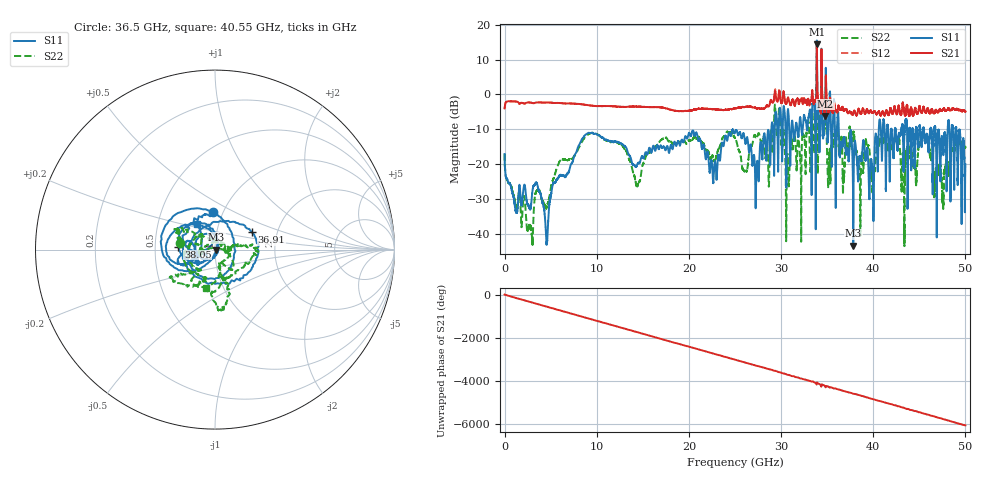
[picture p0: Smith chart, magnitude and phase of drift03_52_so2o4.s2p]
!Created with skrf (http://scikit-rf.org).
# Hz S RI R 50.0
!freq ReS11 ImS11 ReS21 ImS21 ReS12 ImS12 ReS22 ImS22
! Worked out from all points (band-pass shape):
!   10001 points, 300 kHz to 50 GHz, reference 50 ohm
!   highest |S21| = 14.49 dB at 33.88 GHz (marker M1); lowest = -6.2 dB at 34.79 GHz (marker M2)
!   |S21| within 3 dB of the highest: 33.86937 GHz to 33.88837 GHz (19 MHz wide, 0.0561 % of centre); 34.3771 GHz to 34.38905 GHz (11.94 MHz wide, 0.0347 % of centre)
!   lowest |S11| = -43.4 dB at 37.84 GHz (marker M3), VSWR 1.01, Z = 50.7 + j0.0423 ohm
!   |S11| at or under -10 dB: start of sweep to 28.94 GHz; 36.27 GHz to 40.6 GHz (4.339 GHz wide, 11.3 % of centre); 46.74 GHz to 48.08 GHz (1.343 GHz wide, 2.83 % of centre) (the widest 3 of 59)
!   |S22| runs from -43.6 to 11.1 dB; largest |S21 - S12| = 0.81
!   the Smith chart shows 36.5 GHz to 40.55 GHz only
!   S11 on the Smith chart (normalised r, x): 36.5 GHz: 0.90, +0.40; 36.91 GHz: 1.48, +0.31; 38.05 GHz: 0.66, +0.02; 40.55 GHz: 0.79, +0.23
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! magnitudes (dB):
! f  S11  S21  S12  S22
! 300 kHz  -17.1  -4.0  -4.1  -17.1
! 2.825 GHz  -32.6  -2.4  -2.4  -38.1
! 4.555 GHz  -43.2  -2.3  -2.3  -32.3
! 8.335 GHz  -13.1  -2.8  -2.8  -13.9
! 14.44 GHz  -19.9  -3.5  -3.5  -26.2
! 16.67 GHz  -15.4  -3.7  -3.7  -14.3
! 22.82 GHz  -19.3  -4.3  -4.3  -19.1
! 25 GHz  -11.0  -4.0  -4.0  -12.5
! 27.39 GHz  -19.5  -4.1  -4.1  -12.4
! 29.6 GHz  -10.4  -2.0  -2.1  -11.7
! 30.7 GHz  -5.5  -1.4  -1.4  -17.1
! 33.34 GHz  -13.9  -0.5  -0.5  -7.2
! 33.88 GHz  15.5  14.5  14.2  11.0
! 34.79 GHz  -3.1  -6.2  -4.9  -8.6
! 36.5 GHz  -13.5  -4.4  -4.4  -13.9
! 36.91 GHz  -12.9  -4.5  -4.6  -19.8
! 37.84 GHz  -43.4  -5.5  -5.5  -11.2
! 38.05 GHz  -13.7  -5.3  -5.2  -17.1
! 40.55 GHz  -15.2  -5.0  -5.0  -13.1
! 41.67 GHz  -12.1  -5.9  -5.9  -14.9
! 47.59 GHz  -16.3  -4.3  -4.2  -29.6
! 50 GHz  -20.1  -4.9  -4.9  -15.1
